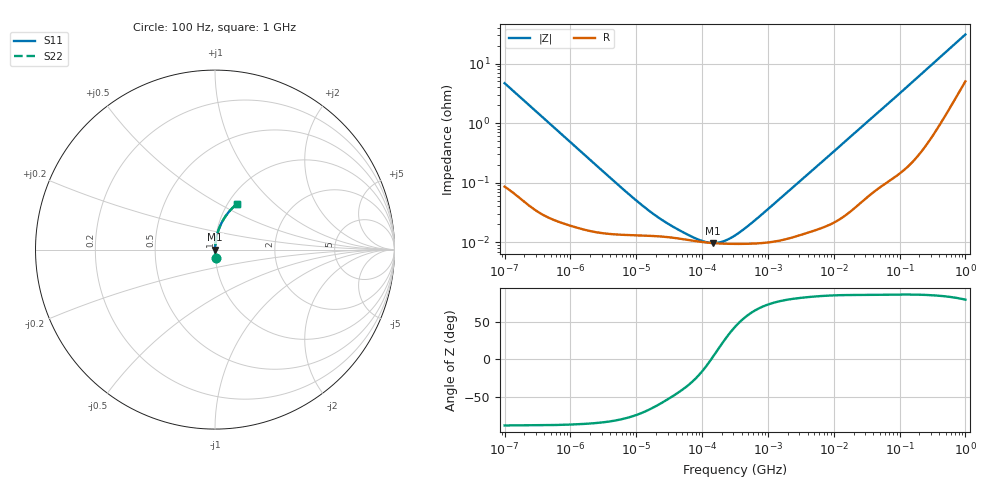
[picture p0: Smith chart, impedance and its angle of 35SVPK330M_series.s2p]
!  *** S-Parameter ***
!  Copyright (C) Panasonic Industry
!  Conductive Polymer Aluminum Soild Capacitor (OS-CON)
!  Parts No. 35SVPK330M
!  Connection Mode : Series
!  1  o---||---o  2
!  GND o--------o GND
!  Conditions : Temperature = 20 degC  DC Bias = 0 V
! Frequency Range : 100Hz  -  1GHz  [ 401 Steps ]
# Hz S RI R 50
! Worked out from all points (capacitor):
!   401 points, 100 Hz to 1 GHz, reference 50 ohm
!   read as one part in series: C = 339 uF near 108.4 Hz
!   lowest |Z| = 9.75 mohm at 147.1 kHz (marker M1)
!   series resonance near 137.2 kHz, so ESL is about 4 nH
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100  0.00304 -0.0466  0.997 0.0466  0.997 0.0466  0.00304 -0.0466
108.3927  0.00267 -0.0431  0.9973 0.0431  0.9973 0.0431  0.00267 -0.0431
296.8247  0.000599 -0.0159  0.9994 0.0159  0.9994 0.0159  0.000599 -0.0159
1487.647  0.000178 -0.00323  0.9998 0.00323  0.9998 0.00323  0.000178 -0.00323
8759.917  0.000132 -0.000555  0.9999 0.000555  0.9999 0.000555  0.000132 -0.000555
14206.92  0.00013 -0.000345  0.9999 0.000345  0.9999 0.000345  0.00013 -0.000345
22130.95  0.000126 -0.000224  0.9999 0.000224  0.9999 0.000224  0.000126 -0.000224
38904.51  0.000118 -0.000129  0.9999 0.000129  0.9999 0.000129  0.000118 -0.000129
77179.15  0.000105 -5.37e-05  0.9999 5.37e-05  0.9999 5.37e-05  0.000105 -5.37e-05
110917.5  0.0001 -1.97e-05  0.9999 1.97e-05  0.9999 1.97e-05  0.0001 -1.97e-05
147061.8  9.73e-05 6.58e-06  0.9999 -6.58e-06  0.9999 -6.58e-06  9.73e-05 6.58e-06
203001.9  9.53e-05 3.85e-05  0.9999 -3.85e-05  0.9999 -3.85e-05  9.53e-05 3.85e-05
248313.3  9.46e-05 6.05e-05  0.9999 -6.05e-05  0.9999 -6.05e-05  9.46e-05 6.05e-05
316227.8  9.42e-05 9.05e-05  0.9999 -9.05e-05  0.9999 -9.05e-05  9.42e-05 9.05e-05
653130.6  9.59e-05 0.000221  0.9999 -0.000221  0.9999 -0.000221  9.59e-05 0.000221
4704354  0.000156 0.0016  0.9998 -0.0016  0.9998 -0.0016  0.000156 0.0016
6.99842e7  0.00156 0.0221  0.9984 -0.0221  0.9984 -0.0221  0.00156 0.0221
1.504874e8  0.0043 0.0467  0.9957 -0.0467  0.9957 -0.0467  0.0043 0.0467
2.867477e8  0.0129 0.0875  0.9871 -0.0875  0.9871 -0.0875  0.0129 0.0875
5.688529e8  0.0453 0.1646  0.9547 -0.1646  0.9547 -0.1646  0.0453 0.1646
8.861352e8  0.0991 0.2339  0.9009 -0.2339  0.9009 -0.2339  0.0991 0.2339
1e9  0.121 0.2535  0.879 -0.2535  0.879 -0.2535  0.121 0.2535
